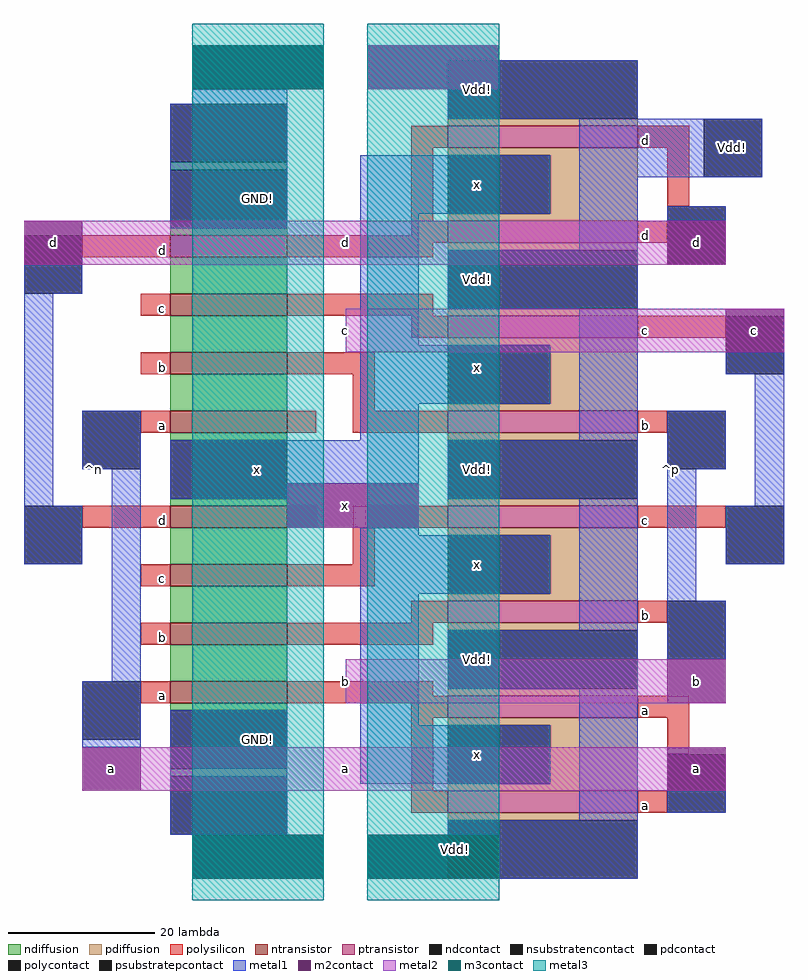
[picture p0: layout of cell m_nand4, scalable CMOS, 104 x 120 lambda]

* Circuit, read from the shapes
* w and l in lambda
.subckt m_nand4 GND! Vdd! a b c d x
M1 n1 a GND! GND! nfet w=16 l=3
M2 n2 b n1 GND! nfet w=16 l=3
M3 n3 c n2 GND! nfet w=16 l=3
M4 x d n3 GND! nfet w=16 l=3
M5 n4 a x GND! nfet w=16 l=3
M6 n5 b n4 GND! nfet w=16 l=3
M7 n6 c n5 GND! nfet w=16 l=3
M8 GND! d n6 GND! nfet w=16 l=3
M9 x a Vdd! Vdd! pfet w=26 l=3 m=2
M10 x b Vdd! Vdd! pfet w=26 l=3 m=2
M11 Vdd! c x Vdd! pfet w=26 l=3 m=2
M12 x d Vdd! Vdd! pfet w=26 l=3 m=2
.ends

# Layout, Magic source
magic
tech scmos
<< ndiffusion >>
rect -24 -697 -8 -696
rect -24 -706 -8 -705
rect -24 -714 -8 -709
rect -24 -722 -8 -717
rect -24 -730 -8 -725
rect -24 -734 -8 -733
rect -24 -743 -8 -742
rect -24 -751 -8 -746
rect -24 -759 -8 -754
rect -24 -767 -8 -762
rect -24 -771 -8 -770
rect -24 -780 -8 -779
<< pdiffusion >>
rect 14 -691 40 -690
rect 14 -695 40 -694
rect 28 -703 40 -695
rect 14 -704 40 -703
rect 14 -708 40 -707
rect 14 -717 40 -716
rect 14 -721 40 -720
rect 28 -729 40 -721
rect 14 -730 40 -729
rect 14 -734 40 -733
rect 14 -743 40 -742
rect 14 -747 40 -746
rect 28 -755 40 -747
rect 14 -756 40 -755
rect 14 -760 40 -759
rect 14 -769 40 -768
rect 14 -773 40 -772
rect 28 -781 40 -773
rect 14 -782 40 -781
rect 14 -786 40 -785
<< ntransistor >>
rect -24 -709 -8 -706
rect -24 -717 -8 -714
rect -24 -725 -8 -722
rect -24 -733 -8 -730
rect -24 -746 -8 -743
rect -24 -754 -8 -751
rect -24 -762 -8 -759
rect -24 -770 -8 -767
<< ptransistor >>
rect 14 -694 40 -691
rect 14 -707 40 -704
rect 14 -720 40 -717
rect 14 -733 40 -730
rect 14 -746 40 -743
rect 14 -759 40 -756
rect 14 -772 40 -769
rect 14 -785 40 -782
<< polysilicon >>
rect 9 -694 14 -691
rect 40 -694 47 -691
rect 9 -704 12 -694
rect 44 -702 47 -694
rect 9 -706 14 -704
rect -36 -709 -24 -706
rect -8 -707 14 -706
rect 40 -707 44 -704
rect -8 -709 12 -707
rect -28 -717 -24 -714
rect -8 -717 12 -714
rect 9 -720 14 -717
rect 40 -720 52 -717
rect -28 -725 -24 -722
rect -8 -725 4 -722
rect 1 -730 4 -725
rect -28 -733 -24 -730
rect -8 -733 -4 -730
rect 1 -733 14 -730
rect 40 -733 44 -730
rect -36 -746 -24 -743
rect -8 -746 -4 -743
rect 1 -746 14 -743
rect 40 -746 52 -743
rect 1 -751 4 -746
rect -28 -754 -24 -751
rect -8 -754 4 -751
rect 9 -759 14 -756
rect 40 -759 44 -756
rect -28 -762 -24 -759
rect -8 -762 12 -759
rect -28 -770 -24 -767
rect -8 -769 12 -767
rect -8 -770 14 -769
rect 9 -772 14 -770
rect 40 -772 47 -769
rect 9 -782 12 -772
rect 44 -777 47 -772
rect 9 -785 14 -782
rect 40 -785 44 -782
<< ndcontact >>
rect -24 -705 -8 -697
rect -24 -742 -8 -734
rect -24 -779 -8 -771
<< pdcontact >>
rect 14 -690 40 -682
rect 14 -703 28 -695
rect 14 -716 40 -708
rect 14 -729 28 -721
rect 14 -742 40 -734
rect 14 -755 28 -747
rect 14 -768 40 -760
rect 14 -781 28 -773
rect 14 -794 40 -786
<< psubstratepcontact >>
rect -24 -696 -8 -688
rect -24 -788 -8 -780
<< nsubstratencontact >>
rect 49 -698 57 -690
<< polycontact >>
rect -44 -714 -36 -706
rect 44 -710 52 -702
rect 52 -725 60 -717
rect -36 -738 -28 -730
rect 44 -738 52 -730
rect -44 -751 -36 -743
rect 52 -751 60 -743
rect -36 -775 -28 -767
rect 44 -764 52 -756
rect 44 -785 52 -777
<< metal1 >>
rect 21 -686 40 -682
rect -21 -688 -8 -686
rect -24 -705 -8 -688
rect 14 -690 40 -686
rect 2 -703 28 -695
rect 32 -698 57 -690
rect -44 -714 -36 -710
rect -44 -743 -40 -714
rect 2 -721 10 -703
rect 32 -708 40 -698
rect 14 -716 40 -708
rect 44 -704 52 -702
rect 2 -729 28 -721
rect -36 -738 -28 -730
rect 2 -734 10 -729
rect 32 -734 40 -716
rect 52 -725 60 -722
rect -44 -751 -36 -743
rect -32 -767 -28 -738
rect -24 -740 10 -734
rect -24 -742 -8 -740
rect 14 -742 40 -734
rect -36 -776 -28 -767
rect 2 -747 10 -746
rect 2 -755 28 -747
rect -24 -788 -8 -771
rect 2 -773 10 -755
rect 32 -760 40 -742
rect 14 -768 40 -760
rect 2 -781 28 -773
rect 32 -786 40 -768
rect 44 -738 52 -730
rect 44 -756 48 -738
rect 56 -743 60 -725
rect 52 -751 60 -743
rect 44 -764 52 -756
rect 44 -785 52 -782
rect 14 -788 40 -786
rect 21 -794 40 -788
<< m2contact >>
rect -21 -686 -3 -680
rect 3 -686 21 -680
rect -44 -710 -36 -704
rect 44 -710 52 -704
rect 52 -722 60 -716
rect -8 -746 10 -740
rect -36 -782 -28 -776
rect 44 -770 52 -764
rect 44 -782 52 -776
rect -21 -794 -3 -788
rect 3 -794 21 -788
<< metal2 >>
rect 3 -686 21 -680
rect -44 -710 52 -704
rect 0 -722 60 -716
rect -8 -746 10 -740
rect 0 -770 52 -764
rect -36 -782 52 -776
<< m3contact >>
rect -21 -686 -3 -680
rect -21 -794 -3 -788
rect 3 -794 21 -788
<< metal3 >>
rect -21 -797 -3 -677
rect 3 -797 21 -677
<< labels >>
rlabel metal1 18 -724 18 -724 1 x
rlabel metal1 18 -699 18 -699 5 x
rlabel metal1 18 -712 18 -712 5 Vdd!
rlabel metal1 18 -738 18 -738 5 Vdd!
rlabel metal1 18 -764 18 -764 1 Vdd!
rlabel metal1 18 -777 18 -777 1 x
rlabel metal1 18 -751 18 -751 5 x
rlabel metal1 -12 -738 -12 -738 5 x
rlabel metal1 -12 -701 -12 -701 5 GND!
rlabel metal1 -12 -775 -12 -775 1 GND!
rlabel polysilicon -25 -732 -25 -732 3 a
rlabel polysilicon -25 -724 -25 -724 3 b
rlabel polysilicon -25 -716 -25 -716 3 c
rlabel polysilicon -25 -708 -25 -708 1 d
rlabel polysilicon -25 -761 -25 -761 3 b
rlabel polysilicon -25 -769 -25 -769 3 a
rlabel polysilicon -25 -753 -25 -753 1 c
rlabel polysilicon -25 -745 -25 -745 3 d
rlabel polysilicon 41 -784 41 -784 7 a
rlabel polysilicon 41 -693 41 -693 7 d
rlabel polysilicon 41 -758 41 -758 7 b
rlabel polysilicon 41 -706 41 -706 7 d
rlabel polysilicon 41 -771 41 -771 7 a
rlabel polysilicon 41 -745 41 -745 7 c
rlabel polysilicon 41 -732 41 -732 7 b
rlabel polysilicon 41 -719 41 -719 7 c
rlabel metal1 18 -686 18 -686 1 Vdd!
rlabel space 28 -795 61 -681 3 ^p
rlabel m2contact 15 -790 15 -790 1 Vdd!
rlabel metal2 0 -770 0 -764 3 b
rlabel metal2 0 -743 0 -743 1 x
rlabel metal2 0 -722 0 -716 3 c
rlabel metal2 0 -710 0 -704 1 d
rlabel metal2 0 -782 0 -776 1 a
rlabel metal1 53 -694 53 -694 1 Vdd!
rlabel space -45 -788 -24 -688 7 ^n
rlabel metal2 -32 -779 -32 -779 1 a
rlabel metal2 48 -779 48 -779 1 a
rlabel metal2 48 -767 48 -767 1 b
rlabel metal2 56 -719 56 -719 7 c
rlabel metal2 48 -707 48 -707 1 d
rlabel metal2 -40 -707 -40 -707 3 d
<< end >>
